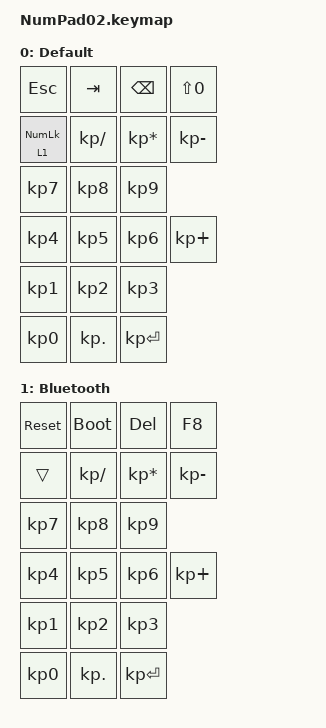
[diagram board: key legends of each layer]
#include <behaviors.dtsi>
#include <dt-bindings/zmk/keys.h>
#include <dt-bindings/zmk/bt.h>
#include <dt-bindings/zmk/outputs.h>

/ {
    keymap {
        compatible = "zmk,keymap";

        default_layer {
            bindings = <
                &kp ESC        &kp TAB       &kp BSPC        &kp LS(N0)      
                &lt 1 KP_NUMLOCK          &kp KP_SLASH  &kp KP_ASTERISK &kp KP_MINUS
                &kp KP_N7      &kp KP_N8     &kp KP_N9       
                &kp KP_N4      &kp KP_N5     &kp KP_N6       &kp KP_PLUS
                &kp KP_N1      &kp KP_N2     &kp KP_N3       
                &kp KP_N0      &kp KP_DOT    &kp KP_ENTER    
            >;
            label = "Default";
        };

        bt_layer {
            bindings = <
                &sys_reset      &bootloader   &kp DELETE         &kp F8      
                &trans          &kp KP_SLASH  &kp KP_ASTERISK &kp KP_MINUS
                &kp KP_N7      &kp KP_N8     &kp KP_N9       
                &kp KP_N4      &kp KP_N5     &kp KP_N6       &kp KP_PLUS
                &kp KP_N1      &kp KP_N2     &kp KP_N3       
                &kp KP_N0      &kp KP_DOT    &kp KP_ENTER
            >;
            label = "Bluetooth";
        };
    };
};
